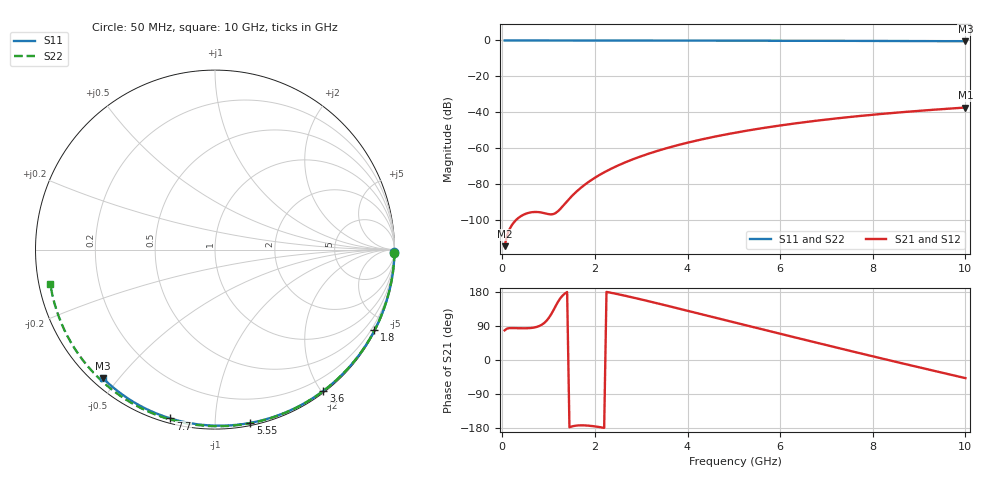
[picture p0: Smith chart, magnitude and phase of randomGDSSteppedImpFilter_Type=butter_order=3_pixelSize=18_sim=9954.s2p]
! freq	dB(S11)	phase(S11)	dB(S12)	phase(S12)
!  dB(S21)	phase(S21)	dB(S22)	phase(S22)
!S-par simulation data
#  GHz  S  DB  R 50
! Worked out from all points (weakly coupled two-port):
!   200 points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, 50 MHz to 10 GHz, reference 50 ohm
!   highest |S21| = -37.33 dB at 10 GHz (marker M1); lowest = -114.5 dB at 50 MHz (marker M2)
!   lowest |S11| = -0.4 dB at 10 GHz (marker M3), VSWR 39.03, Z = 1.55 - j22.7 ohm
!   |S11| at or under -10 dB: nowhere
!   |S22| runs from -0.6 to 0.0 dB; largest |S21 - S12| = 0
!   S11 on the Smith chart (normalised r, x): 50 MHz: open; 1.8 GHz: 0.04, -4.19; 3.6 GHz: 0.02, -2.03; 5.55 GHz: 0.02, -1.22; 7.7 GHz: 0.02, -0.77; 10 GHz: 0.03, -0.45
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0.05  -0.00 -0.8  -114.54 78.2  -114.54 78.2  -0.00 -1.0
0.45  -0.01 -6.8  -97.13 83.6  -97.13 83.6  -0.01 -8.6
0.9  -0.02 -13.6  -96.11 97.2  -96.11 97.2  -0.02 -17.1
1.3  -0.02 -19.5  -92.41 169.7  -92.41 169.7  -0.03 -24.6
1.75  -0.03 -26.1  -80.93 -172.5  -80.93 -172.5  -0.04 -32.9
1.8  -0.03 -26.9  -79.95 -172.7  -79.95 -172.7  -0.04 -33.9
1.95  -0.04 -29.1  -77.26 -174.4  -77.26 -174.4  -0.05 -36.6
2.1  -0.04 -31.2  -74.87 -177.1  -74.87 -177.1  -0.05 -39.3
2.3  -0.04 -34.1  -72.07 178.6  -72.07 178.6  -0.05 -43.0
2.5  -0.05 -37.0  -69.60 173.6  -69.60 173.6  -0.06 -46.6
2.9  -0.06 -42.7  -65.39 162.7  -65.39 162.7  -0.07 -53.7
3.4  -0.07 -49.8  -61.10 148.0  -61.10 148.0  -0.08 -62.5
3.6  -0.07 -52.5  -59.61 142.0  -59.61 142.0  -0.09 -65.9
4.3  -0.09 -62.1  -55.13 120.8  -55.13 120.8  -0.11 -77.8
5.05  -0.11 -72.0  -51.27 98.0  -51.27 98.0  -0.14 -90.2
5.55  -0.13 -78.5  -49.09 82.8  -49.09 82.8  -0.16 -98.2
6.1  -0.15 -85.4  -46.97 66.3  -46.97 66.3  -0.19 -106.9
6.7  -0.18 -92.8  -44.94 48.2  -44.94 48.2  -0.23 -116.3
7.7  -0.24 -104.8  -42.10 18.5  -42.10 18.5  -0.30 -131.8
8.35  -0.29 -112.4  -40.55 -0.5  -40.55 -0.5  -0.37 -141.8
9.2  -0.36 -122.1  -38.79 -25.0  -38.79 -25.0  -0.46 -155.3
10  -0.45 -131.1  -37.33 -47.8  -37.33 -47.8  -0.56 -168.3
